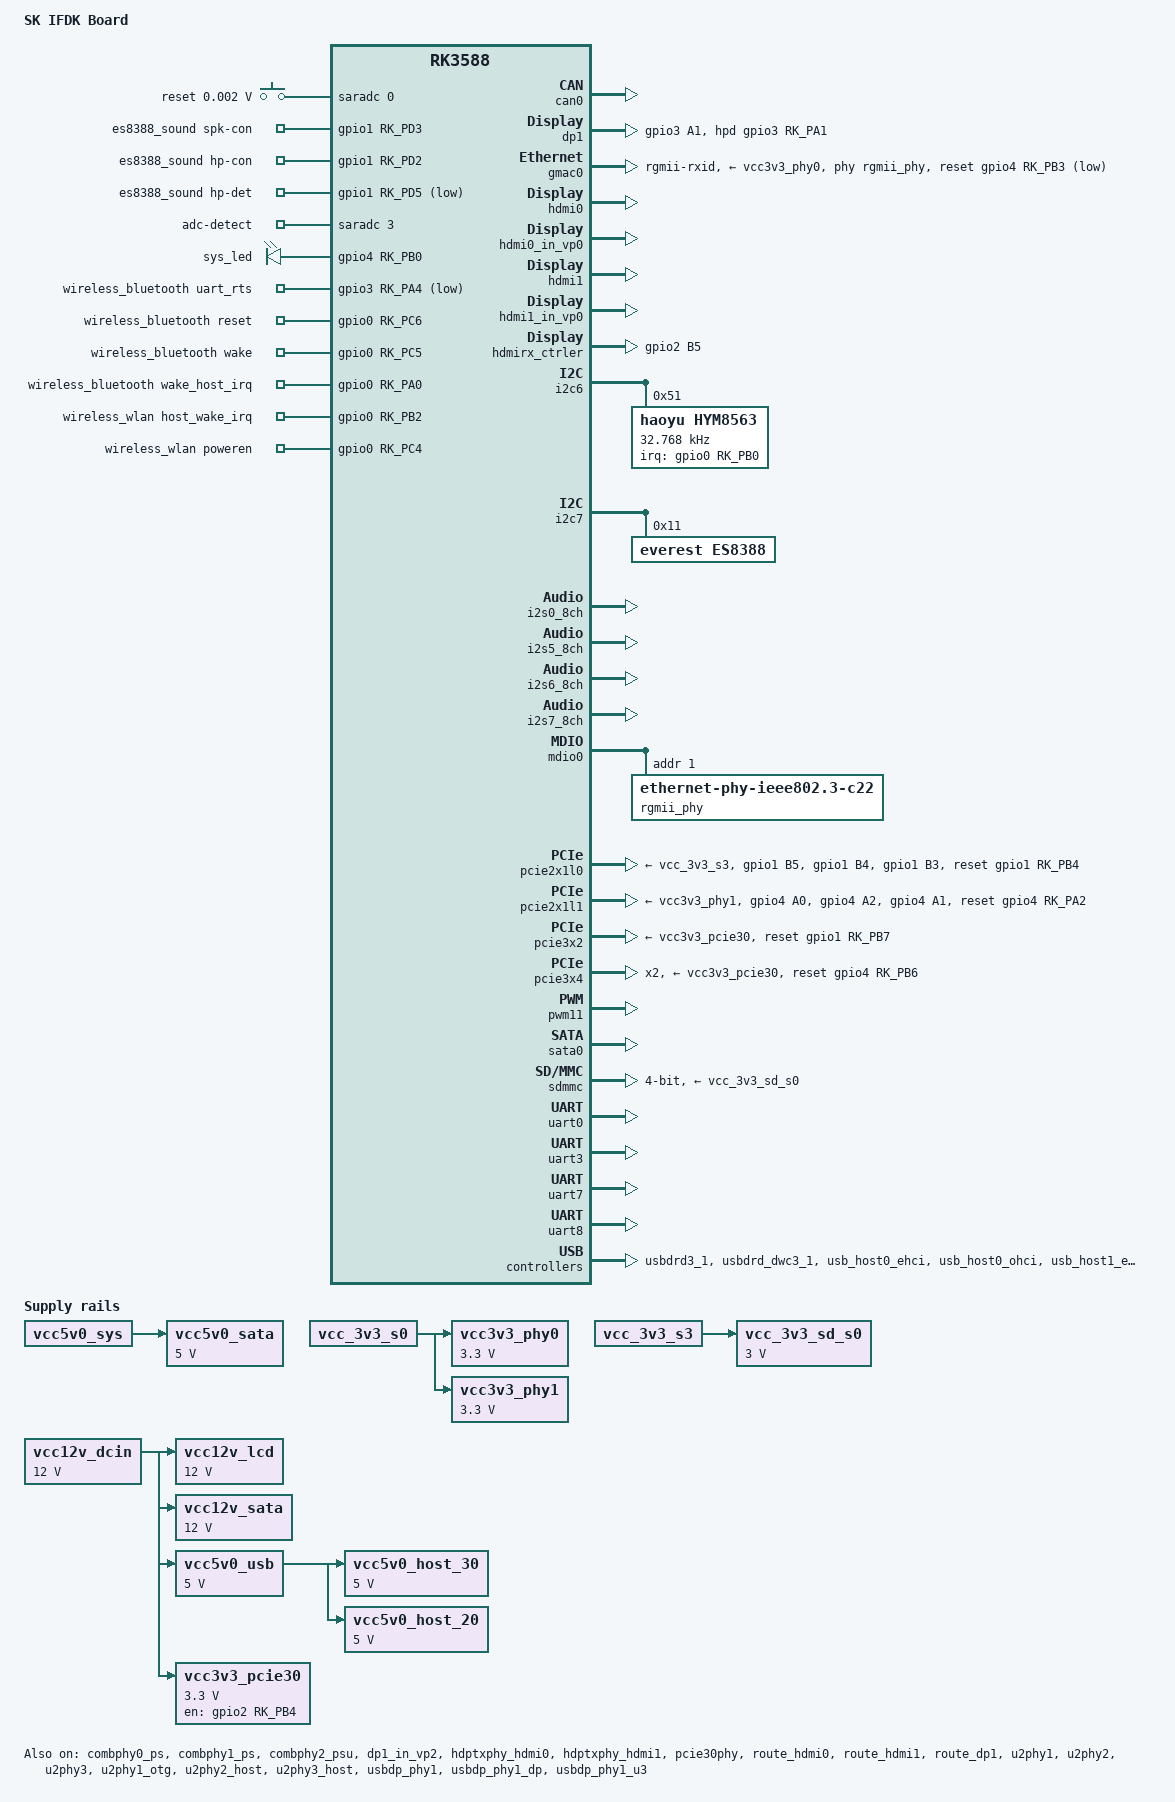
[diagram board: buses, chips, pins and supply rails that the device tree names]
// SPDX-License-Identifier: (GPL-2.0+ OR MIT)
/*
* Copyright (c) 2025 Sergey Kharenko
* Copyright (c) 2021 Rockchip Electronics Co., Ltd.
*/

/dts-v1/;
#include <dt-bindings/input/input.h>
#include <dt-bindings/phy/phy-snps-pcie3.h>
#include "rk3588-sk-ifdk-core.dtsi"

/ {
	model = "SK IFDK Board";
	compatible = "sk,ifdk", "rockchip,rk3588";
	
	aliases {
		ethernet0 = &r8111_u10;
		ethernet1 = &gmac0;
		mmc0 = &sdhci;
		mmc1 = &sdmmc;
		vga0 = &vga0;
		dp0 = &dp0;
	};
	
	/* If hdmirx node is disabled, delete the reserved-memory node here. */
	reserved-memory {
		#address-cells = <2>;
		#size-cells = <2>;
		ranges;
		
		/* Reserve 256MB memory for hdmirx-controller@fdee0000 */
		cma {
			compatible = "shared-dma-pool";
			reusable;
			reg = <0x0 (256 * 0x100000) 0x0 (256 * 0x100000)>;
			linux,cma-default;
		};
	};

	adc_keys: adc-keys {
		compatible = "adc-keys";
		io-channels = <&saradc 0>;
		io-channel-names = "buttons";
		keyup-threshold-microvolt = <1800000>;
		poll-interval = <100>;

		key-rst {
			label = "reset";
			linux,code = <KEY_RESTART>;
			press-threshold-microvolt = <1750>;
		};
	};
	
	es8388_sound: es8388-sound {
		compatible = "rockchip,multicodecs-card";
		rockchip,card-name = "rockchip-es8388";
		io-channels = <&saradc 3>;
		io-channel-names = "adc-detect";
		keyup-threshold-microvolt = <1800000>;
		poll-interval = <100>;
		
		pinctrl-names = "default";
		pinctrl-0 = <&hp_det &hp_ctl &spk_ctl>;
		
		spk-con-gpio = <&gpio1 RK_PD3 GPIO_ACTIVE_HIGH>;
		hp-con-gpio = <&gpio1 RK_PD2 GPIO_ACTIVE_HIGH>;
		hp-det-gpio = <&gpio1 RK_PD5 GPIO_ACTIVE_LOW>;
		
		rockchip,format = "i2s";
		rockchip,mclk-fs = <256>;
		rockchip,cpu = <&i2s0_8ch>;
		rockchip,codec = <&es8388>;
		rockchip,audio-routing =
		"Headphone", "LOUT1",
		"Headphone", "ROUT1",
		
		"Speaker", "LOUT2",
		"Speaker", "ROUT2",
		"Headphone", "Headphone Power",
		"Headphone", "Headphone Power",
		"Speaker", "Speaker Power",
		"Speaker", "Speaker Power",
		"LINPUT1", "Main Mic",
		"LINPUT2", "Main Mic",
		"RINPUT1", "Headset Mic",
		"RINPUT2", "Headset Mic";
		
		play-pause-key {
			label = "playpause";
			linux,code = <KEY_PLAYPAUSE>;
			press-threshold-microvolt = <2000>;
		};
	};
	
	gpio_leds: gpio-leds {
		compatible = "gpio-leds";
		sys_led: sys-led {
			gpios = <&gpio4 RK_PB0 GPIO_ACTIVE_HIGH>;
			label = "sys_led";
			linux,default-trigger = "heartbeat";
			pinctrl-names = "default";
			pinctrl-0 = <&sys_led_pin>;
		};
	};
	
	hdmi0_sound: hdmi0-sound {
		compatible = "rockchip,hdmi";
		rockchip,mclk-fs = <128>;
		rockchip,card-name = "rockchip-hdmi0";
		rockchip,cpu = <&i2s5_8ch>;
		rockchip,codec = <&hdmi0>;
	};
	
	hdmi1_sound: hdmi1-sound {
		compatible = "rockchip,hdmi";
		rockchip,mclk-fs = <128>;
		rockchip,card-name = "rockchip-hdmi1";
		rockchip,cpu = <&i2s6_8ch>;
		rockchip,codec = <&hdmi1>;
	};
	
	hdmiin_sound: hdmiin-sound {
		compatible = "rockchip,hdmi";
		rockchip,mclk-fs = <128>;
		rockchip,format = "i2s";
		rockchip,bitclock-master = <&hdmirx_ctrler>;
		rockchip,frame-master = <&hdmirx_ctrler>;
		rockchip,card-name = "rockchip-hdmiin";
		rockchip,cpu = <&i2s7_8ch>;
		rockchip,codec = <&hdmirx_ctrler 0>;
		rockchip,jack-det;
	};
	
	vcc12v_dcin: vcc12v-dcin-regulator {
		compatible = "regulator-fixed";
		regulator-name = "vcc12v_dcin";
		regulator-always-on;
		regulator-boot-on;
		regulator-min-microvolt = <12000000>;
		regulator-max-microvolt = <12000000>;
	};

	vcc12v_lcd: vcc12v-lcd-regulator {
		compatible = "regulator-fixed";
		regulator-name = "vcc12v_lcd";
		regulator-always-on;
		regulator-boot-on;
		regulator-min-microvolt = <12000000>;
		regulator-max-microvolt = <12000000>;
		vin-supply = <&vcc12v_dcin>;
	};
	
	vcc12v_sata: vcc12v-sata-regulator {
		compatible = "regulator-fixed";
		regulator-name = "vcc12v_sata";
		regulator-always-on;
		regulator-boot-on;
		regulator-min-microvolt = <12000000>;
		regulator-max-microvolt = <12000000>;
		vin-supply = <&vcc12v_dcin>;
	};
	
	vcc5v0_sata: vcc5v0-sata-regulator {
		compatible = "regulator-fixed";
		regulator-name = "vcc5v0_sata";
		regulator-always-on;
		regulator-boot-on;
		regulator-min-microvolt = <5000000>;
		regulator-max-microvolt = <5000000>;
		vin-supply = <&vcc5v0_sys>;
	};
	
	vcc5v0_host_30: vcc5v0-host-30 {
		compatible = "regulator-fixed";
		regulator-always-on;
		regulator-boot-on;
		regulator-name = "vcc5v0_host_30";
		regulator-min-microvolt = <5000000>;
		regulator-max-microvolt = <5000000>;
		vin-supply = <&vcc5v0_usb>;
	};
	
	vcc5v0_host_20: vcc5v0-host-20 {
		compatible = "regulator-fixed";
		regulator-always-on;
		regulator-boot-on;
		regulator-name = "vcc5v0_host_20";
		regulator-min-microvolt = <5000000>;
		regulator-max-microvolt = <5000000>;
		vin-supply = <&vcc5v0_usb>;
	};
	
	vcc5v0_usb: vcc5v0-usb-regulator {
		compatible = "regulator-fixed";
		regulator-name = "vcc5v0_usb";
		regulator-always-on;
		regulator-boot-on;
		regulator-min-microvolt = <5000000>;
		regulator-max-microvolt = <5000000>;
		vin-supply = <&vcc12v_dcin>;
	};
	
	vcc3v3_pcie30: vcc3v3-pcie30-regulator {
		compatible = "regulator-fixed";
		regulator-name = "vcc3v3_pcie30";
		regulator-always-on;
		regulator-boot-on;
		regulator-min-microvolt = <3300000>;
		regulator-max-microvolt = <3300000>;
		enable-active-high;
		pinctrl-names = "default";
		pinctrl-0 = <&pcie30_pwren>;
		gpios = <&gpio2 RK_PB4 GPIO_ACTIVE_HIGH>;
		startup-delay-us = <5000>;
		vin-supply = <&vcc12v_dcin>;
	};
	
	vcc3v3_phy0: vcc3v3-phy0-regulator {
		compatible = "regulator-fixed";
		regulator-name = "vcc3v3_phy0";
		regulator-boot-on;
		regulator-min-microvolt = <3300000>;
		regulator-max-microvolt = <3300000>;
		vin-supply = <&vcc_3v3_s0>;
	};
	
	vcc3v3_phy1: vcc3v3-phy1-regulator {
		compatible = "regulator-fixed";
		regulator-name = "vcc3v3_phy1";
		regulator-boot-on;
		regulator-min-microvolt = <3300000>;
		regulator-max-microvolt = <3300000>;
		vin-supply = <&vcc_3v3_s0>;
	};
	
	vcc_3v3_sd_s0: vcc-3v3-sd-s0-regulator {
		compatible = "regulator-fixed";
		regulator-always-on;
		regulator-boot-on;
		regulator-max-microvolt = <3000000>;
		regulator-min-microvolt = <3000000>;
		regulator-name = "vcc_3v3_sd_s0";
		vin-supply = <&vcc_3v3_s3>;
	};
	
	wireless_bluetooth: wireless-bluetooth {
		compatible = "bluetooth-platdata";
		clocks = <&hym8563>;
		clock-names = "ext_clock";
		uart_rts_gpios = <&gpio3 RK_PA4 GPIO_ACTIVE_LOW>;
		pinctrl-names = "default", "rts_gpio";
		pinctrl-0 = <&uart8m1_rtsn>, <&bt_gpio>;
		pinctrl-1 = <&uart8_gpios>;
		BT,reset_gpio    = <&gpio0 RK_PC6 GPIO_ACTIVE_HIGH>;
		BT,wake_gpio     = <&gpio0 RK_PC5 GPIO_ACTIVE_HIGH>;
		BT,wake_host_irq = <&gpio0 RK_PA0 GPIO_ACTIVE_HIGH>;
		status = "okay";
	};
	
	wireless_wlan: wireless-wlan {
		compatible = "wlan-platdata";
		clocks = <&hym8563>;
		clock-names = "ext_clock";
		wifi_chip_type = "ap6275p";
		pinctrl-names = "default";
		pinctrl-0 = <&wifi_host_wake_irq>, <&wifi_poweren_gpio>;
		WIFI,host_wake_irq = <&gpio0 RK_PB2 GPIO_ACTIVE_HIGH>;
		WIFI,poweren_gpio = <&gpio0 RK_PC4 GPIO_ACTIVE_HIGH>;
		status = "okay";
	};
};

&can0 {
	status = "okay";
};

&combphy0_ps {
	status = "okay";
};

&combphy1_ps {
	status = "okay";
};

&combphy2_psu {
	status = "okay";
};

vga0: &dp1 {
	status = "okay";
	pinctrl-names = "default";
	pinctrl-0 = <&vga_hpd>;
	hpd-gpios = <&gpio3 RK_PA1 GPIO_ACTIVE_HIGH>;
};

&dp1_in_vp0 {
	status = "disabled";
};

&dp1_in_vp1 {
	status = "disabled";
};

&dp1_in_vp2 {
	status = "okay";
};

&display_subsystem {
	clocks = <&hdptxphy_hdmi0>, <&hdptxphy_hdmi1>;
	clock-names = "hdmi0_phy_pll", "hdmi1_phy_pll";
};

&dsi0 {
	status = "disabled";
};

&dsi0_in_vp2 {
	status = "disabled";
};

&dsi0_in_vp3 {
	status = "disabled";
};

&dsi1 {
	status = "disabled";
};

&gmac0 {
	status = "okay";
	/* Use rgmii-rxid mode to disable rx delay inside Soc */
	phy-mode = "rgmii-rxid";
	phy-supply = <&vcc3v3_phy0>;
	clock_in_out = "output";
	
	snps,reset-gpio = <&gpio4 RK_PB3 GPIO_ACTIVE_LOW>;
	snps,reset-active-low;
	/* Reset time is 20ms, 100ms for rtl8211f */
	snps,reset-delays-us = <0 20000 100000>;
	
	pinctrl-names = "default";
	pinctrl-0 = <&gmac0_miim
		&gmac0_tx_bus2
		&gmac0_rx_bus2
		&gmac0_rgmii_clk
		&gmac0_rgmii_bus>;
	
	tx_delay = <0x43>;
	
	phy-handle = <&rgmii_phy>;
};

&hdmi0 {
	status = "okay";
	cec-enable = "true";
	enable-gpios = <&gpio4 RK_PB1 GPIO_ACTIVE_HIGH>;
};

&hdmi0_in_vp0 {
	status = "okay";
};

&hdmi0_in_vp1 {
	status = "disabled";
};

&hdmi0_in_vp2 {
	status = "disabled";
};

&hdmi1 {
	status = "okay";
	cec-enable = "true";
	enable-gpios = <&gpio4 RK_PB2 GPIO_ACTIVE_HIGH>;
};

&hdmi1_in_vp0 {
	status = "okay";
};

&hdmi1_in_vp1 {
	status = "disabled";
};

&hdmi1_in_vp2 {
	status = "disabled";
};

/* Should work with at least 128MB cma reserved above. */
&hdmirx_ctrler {
	status = "okay";
	#sound-dai-cells = <1>;
	edid-version = <3>;
	/* Effective level used to trigger HPD: 0-low, 1-high */
	hpd-trigger-level = <1>;
	hdmirx-det-gpios = <&gpio2 RK_PB5 GPIO_ACTIVE_LOW>;
	pinctrl-names = "default";
	pinctrl-0 = <&hdmim1_rx &hdmirx_det>;
};

&hdptxphy_hdmi0 {
	status = "okay";
};

&hdptxphy_hdmi1 {
	status = "okay";
};

dsi_i2c: &i2c5 {
	/* connect to dsi touch */
	status = "disabled";
};

&i2c6 {
	hym8563: hym8563@51 {
		compatible = "haoyu,hym8563";
		reg = <0x51>;
		#clock-cells = <0>;
		clock-frequency = <32768>;
		clock-output-names = "hym8563";
		pinctrl-names = "default";
		pinctrl-0 = <&hym8563_int>;
		interrupt-parent = <&gpio0>;
		interrupts = <RK_PB0 IRQ_TYPE_LEVEL_LOW>;
		wakeup-source;
	};
};

&i2c7 {
	status = "okay";
	
	es8388: es8388@11 {
		status = "okay";
		#sound-dai-cells = <0>;
		compatible = "everest,es8388", "everest,es8323";
		reg = <0x11>;
		clocks = <&cru I2S0_8CH_MCLKOUT>;
		clock-names = "mclk";
		assigned-clocks = <&cru I2S0_8CH_MCLKOUT>;
		assigned-clock-rates = <12288000>;
		pinctrl-names = "default";
		pinctrl-0 = <&i2s0_mclk>;
	};
};

&i2s0_8ch {
	status = "okay";
	pinctrl-names = "default";
	pinctrl-0 = <&i2s0_sdi0
	&i2s0_sdo0
	&i2s0_lrck
	&i2s0_sclk>;
};

&i2s5_8ch {
	status = "okay";
};

&i2s6_8ch {
	status = "okay";
};

&i2s7_8ch {
	status = "okay";
};

&mdio0 {
	rgmii_phy: phy@1 {
		compatible = "ethernet-phy-ieee802.3-c22";
		reg = <0x1>;
	};
};

&pcie2x1l0 {
	status = "okay";
	supports-clkreq;
	rockchip,skip-scan-in-resume;
	rockchip,perst-inactive-ms = <40>;
	vpcie3v3-supply = <&vcc_3v3_s3>;
	pinctrl-names = "default";
	pinctrl-0 = <&pcie2x1l0_pins>;
	reset-gpios = <&gpio1 RK_PB4 GPIO_ACTIVE_HIGH>;
};

&pcie2x1l1 {
	status = "okay";
	supports-clkreq;
	rockchip,skip-scan-in-resume;
	rockchip,perst-inactive-ms = <100>;
	vpcie3v3-supply = <&vcc3v3_phy1>;
	pinctrl-names = "default";
	pinctrl-0 = <&pcie2x1l1_pins>;
	reset-gpios = <&gpio4 RK_PA2 GPIO_ACTIVE_HIGH>;
	
	pcie@0,0 {
		reg = <0x00200000 0 0 0 0>;
		#address-cells = <3>;
		#size-cells = <2>;
		
		r8111_u10: pcie@20,0 {
			reg = <0x000000 0 0 0 0>;
		};
	};
};

&pcie30phy{
	status = "okay";
	rockchip,pcie30-phymode = <PHY_MODE_PCIE_NANBNB>;
};

&pcie3x2{
	status = "okay";
	supports-clkreq;
	pinctrl-names = "default";
	pinctrl-0 = <&pcie30x2m3_pins>;
	reset-gpios = <&gpio1 RK_PB7 GPIO_ACTIVE_HIGH>;
	vpcie3v3-supply = <&vcc3v3_pcie30>;
};

&pcie3x4{
	status = "okay";
	supports-clkreq;
	num-lanes = <2>;
	pinctrl-names = "default";
	pinctrl-0 = <&pcie30x4m1_pins>;
	reset-gpios = <&gpio4 RK_PB6 GPIO_ACTIVE_HIGH>;
	vpcie3v3-supply = <&vcc3v3_pcie30>;
};

&pinctrl {
	gpio-fans {
		/omit-if-no-ref/
		sys_fan_pin: sys-fan-pin {
			rockchip,pins = <4 RK_PA5 RK_FUNC_GPIO &pcfg_pull_none>;
		};
	};
	
	gpio-leds {
		sys_led_pin: sys-led-pin {
			rockchip,pins = <4 RK_PB0 RK_FUNC_GPIO &pcfg_pull_none>;
		};
	};
	
	rtc {
		hym8563_int: hym8563-int {
			rockchip,pins = <0 RK_PB0 RK_FUNC_GPIO &pcfg_pull_up>;
		};
	};
	
	hdmi {
		hdmirx_det: hdmirx-det {
			rockchip,pins = <2 RK_PB5 RK_FUNC_GPIO &pcfg_pull_up>;
		};
	};
	
	headphone {
		hp_det: hp-det {
			rockchip,pins = <1 RK_PD5 RK_FUNC_GPIO &pcfg_pull_down>;
		};
		
		hp_ctl: hp-ctl {
			rockchip,pins = <1 RK_PD2 RK_FUNC_GPIO &pcfg_pull_down>;
		};
		
		spk_ctl: spk-ctl {
			rockchip,pins = <1 RK_PD3 RK_FUNC_GPIO &pcfg_pull_down>;
		};
	};
	
	lcd {
		lcd_rst_gpio: lcd-rst-gpio {
			rockchip,pins = <1 RK_PC4 RK_FUNC_GPIO &pcfg_pull_down>;
		};
	};

	key {
		keypad_gpio: keypad-gpio {
			rockchip,pins = <3 RK_PA0 RK_FUNC_GPIO &pcfg_pull_up>;
		};
	};
	
	pcie {
		pcie30_pwren: pcie30-pwren {
			rockchip,pins = <2 RK_PB4 RK_FUNC_GPIO &pcfg_pull_up>;
		};
		
		pcie2x1l0_pins: pcie2x1l0-pins {
			rockchip,pins = 
			/* pcie2x1l0_clkreqn */
			<1 RK_PB5 RK_FUNC_GPIO &pcfg_pull_up>,
			/* pcie2x1l0_perstn */
			<1 RK_PB4 RK_FUNC_GPIO &pcfg_pull_up>,
			/* pcie2x1l0_waken */
			<1 RK_PB3 RK_FUNC_GPIO &pcfg_pull_up>;
		};
		
		pcie2x1l1_pins: pcie2x1l1-pins {
			rockchip,pins = 
			/* pcie2x1l1_clkreqn */
			<4 RK_PA0 RK_FUNC_GPIO &pcfg_pull_up>,
			/* pcie2x1l1_perstn */
			<4 RK_PA2 RK_FUNC_GPIO &pcfg_pull_up>,
			/* pcie2x1l1_waken */
			<4 RK_PA1 RK_FUNC_GPIO &pcfg_pull_up>;
		};
	};
	
	touch {
		/omit-if-no-ref/
		touch_gpio: touch-gpio {
			rockchip,pins = 
			<3 RK_PB7 RK_FUNC_GPIO &pcfg_pull_none>,
			<3 RK_PC3 RK_FUNC_GPIO &pcfg_pull_none>;
		};
	};
	
	usb {
		usbc0_int: usbc0-int {
			rockchip,pins = <0 RK_PD3 RK_FUNC_GPIO &pcfg_pull_up>;
		};
	};
	
	vga {
		vga_hpd: vga-hpd {
			rockchip,pins = <3 RK_PA1 RK_FUNC_GPIO &pcfg_pull_up>;
		};
	};
	
	wireless-bluetooth {
		uart8_gpios: uart8-gpios {
			rockchip,pins = <3 RK_PA4 RK_FUNC_GPIO &pcfg_pull_none>;
		};
		
		bt_gpio: bt-gpio {
			rockchip,pins =
			<0 RK_PC6 RK_FUNC_GPIO &pcfg_pull_none>,
			<0 RK_PC5 RK_FUNC_GPIO &pcfg_pull_none>,
			<0 RK_PA0 RK_FUNC_GPIO &pcfg_pull_none>;
		};
	};
	
	wireless-wlan {
		wifi_host_wake_irq: wifi-host-wake-irq {
			rockchip,pins = <0 RK_PB2 RK_FUNC_GPIO &pcfg_pull_down>;
		};
		
		wifi_poweren_gpio: wifi-poweren-gpio {
			rockchip,pins = <0 RK_PC4 RK_FUNC_GPIO &pcfg_pull_up>;
		};
	};
};

ir_pwm: &pwm11 {
	/* connected with IR */
	status = "okay";
	pinctrl-names = "default";
	pinctrl-0 = <&pwm11m3_pins>;
};

dsi_pwm: &pwm14 {
	/* connected with dsi0 and dsi1 */
	status = "disabled";
};

&route_hdmi0 {
	status = "okay";
};

&route_hdmi1 {
	status = "okay";
	connect = <&vp0_out_hdmi1>;
};

&route_dp1 {
	status = "okay";
	connect = <&vp2_out_dp1>;
};

&route_dsi0 {
	status = "disabled";
};

&sata0 {
	status = "okay";
	target-supply = <&vcc12v_sata>;
	ahci-supply = <&vcc5v0_sata>;
};

&sdmmc {
	status = "okay";
	max-frequency = <200000000>;
	bus-width = <4>;
	cap-mmc-highspeed;
	cap-sd-highspeed;
	disable-wp;
	sd-uhs-sdr104;
	vmmc-supply = <&vcc_3v3_sd_s0>;
	vqmmc-supply = <&vccio_sd_s0>;
	pinctrl-names = "default";
	pinctrl-0 = <&sdmmc_bus4 &sdmmc_clk &sdmmc_cmd &sdmmc_det>;
};

&u2phy1 {
	status = "okay";
};

&u2phy2 {
	status = "okay";
};

&u2phy3 {
	status = "okay";
};

&u2phy1_otg {
	status = "okay";
	phy-supply = <&vcc5v0_host_30>;
};

&u2phy2_host {
	status = "okay";
	phy-supply = <&vcc5v0_host_20>;
};

&u2phy3_host {
	status = "okay";
	phy-supply = <&vcc5v0_host_20>;
};

&uart0 {
	status = "okay";
	pinctrl-0 = <&uart0m2_xfer>;
};

&uart3 {
	status = "okay";
	pinctrl-0 = <&uart3m1_xfer>;
	linux,rs485-enabled-at-boot-time;
	rs485-rx-during-tx;
};

&uart7 {
	status = "okay";
};

&uart8 {
	status = "okay";
	pinctrl-names = "default";
	pinctrl-0 = <&uart8m1_xfer &uart8m1_ctsn>;
};

&usbdp_phy1 {
	status = "okay";
	rockchip,dp-lane-mux = <2 3>;
};

&usbdp_phy1_dp {
	status = "okay";
};

&usbdp_phy1_u3 {
	status = "okay";
	phy-supply = <&vcc5v0_host_30>;
};

&usbdrd3_1 {
	status = "okay";
};

&usbdrd_dwc3_1 {
	status = "okay";
	snps,xhci-trb-ent-quirk;
	maximum-speed = "super-speed";
};

&usb_host0_ehci {
	status = "okay";
};

&usb_host0_ohci {
	status = "okay";
};

&usb_host1_ehci {
	status = "okay";
};

&usb_host1_ohci {
	status = "okay";
};

&vcc5v0_sys {
	vin-supply = <&vcc12v_dcin>;
};

&vcc5v0_typec {
	vin-supply = <&vcc12v_dcin>;
};
